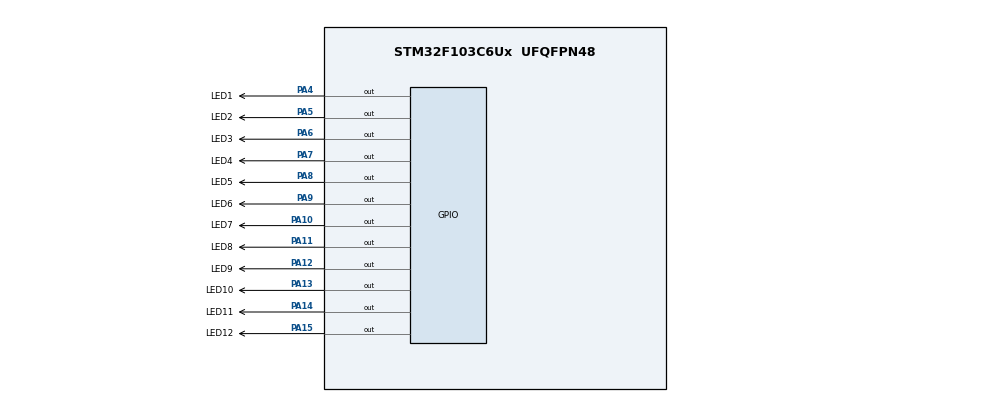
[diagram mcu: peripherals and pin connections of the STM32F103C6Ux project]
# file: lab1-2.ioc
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Mcu.Family=STM32F1
Mcu.Name=STM32F103C6Ux
Mcu.Package=UFQFPN48
NVIC.PriorityGroup=NVIC_PRIORITYGROUP_4
PA10.GPIO_Label=LED7
PA10.Signal=GPIO_Output
PA11.GPIO_Label=LED8
PA11.Signal=GPIO_Output
PA12.GPIO_Label=LED9
PA12.Signal=GPIO_Output
PA13.GPIO_Label=LED10
PA13.Signal=GPIO_Output
PA14.GPIO_Label=LED11
PA14.Signal=GPIO_Output
PA15.GPIO_Label=LED12
PA15.Signal=GPIO_Output
PA4.GPIO_Label=LED1
PA4.Signal=GPIO_Output
PA5.GPIO_Label=LED2
PA5.Signal=GPIO_Output
PA6.GPIO_Label=LED3
PA6.Signal=GPIO_Output
PA7.GPIO_Label=LED4
PA7.Signal=GPIO_Output
PA8.GPIO_Label=LED5
PA8.Signal=GPIO_Output
PA9.GPIO_Label=LED6
PA9.Signal=GPIO_Output
ProjectManager.HeapSize=0x200
ProjectManager.StackSize=0x400
ProjectManager.TargetToolchain=STM32CubeIDE
RCC.APB1Freq_Value=8000000
RCC.APB2Freq_Value=8000000
VP_SYS_VS_ND.Mode=No_Debug
board=custom

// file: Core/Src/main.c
/* USER CODE BEGIN Header */
/**
  ******************************************************************************
  * @file           : main.c
  * @brief          : Main program body
  ******************************************************************************
  * @attention
  *
  * <h2><center>&copy; Copyright (c) 2026 STMicroelectronics.
  * All rights reserved.</center></h2>
  *
  * This software component is licensed by ST under BSD 3-Clause license,
  * the "License"; You may not use this file except in compliance with the
  * License. You may obtain a copy of the License at:
  *                        opensource.org/licenses/BSD-3-Clause
  *
  ******************************************************************************
  */
/* USER CODE END Header */
#include "main.h"

/* USER CODE BEGIN PV */
uint16_t led_pins[12] = {LED1_Pin, LED2_Pin, LED3_Pin, LED4_Pin, LED5_Pin, LED6_Pin, LED7_Pin, LED8_Pin, LED9_Pin, LED10_Pin, LED11_Pin, LED12_Pin};
int hour = 0;
int minute = 0;
int second = 0;
/* USER CODE END PV */

void SystemClock_Config(void);
static void MX_GPIO_Init(void);
/* USER CODE BEGIN PFP */
void clearAllClock(void);
void setNumberOnClock(int num);
void clearNumberOnClock(int num);
/* USER CODE END PFP */

int main(void)
{

  /* MCU Configuration--------------------------------------------------------*/

  /* Reset of all peripherals, Initializes the Flash interface and the Systick. */
  HAL_Init();

  /* Configure the system clock */
  SystemClock_Config();

  /* Initialize all configured peripherals */
  MX_GPIO_Init();

  /* Infinite loop */
  while (1)
  {

    /* USER CODE BEGIN 3 */
	  //Ex6
	  /*for (int i = 0; i < 12; i++) {
	      HAL_GPIO_WritePin(GPIOA, led_pins[i], GPIO_PIN_RESET);
	      HAL_Delay(500);
	      HAL_GPIO_WritePin(GPIOA, led_pins[i], GPIO_PIN_SET);
	  }*/
	  //Ex6

	  //Ex10
	  clearAllClock();
	  setNumberOnClock(hour%12);
	  setNumberOnClock(minute/5);
	  setNumberOnClock(second/5);
	  second++;
	  if (second >= 60) {
	      second = 0;
	      minute++;
	  }
	  if (minute >= 60) {
	      minute = 0;
	      hour++;
	  }
	  if (hour >= 24) {
	      hour = 0;
	  }
	  HAL_Delay(100);
	  //Ex10
  }
  /* USER CODE END 3 */
}

void SystemClock_Config(void)
{
  RCC_OscInitTypeDef RCC_OscInitStruct = {0};
  RCC_ClkInitTypeDef RCC_ClkInitStruct = {0};

  /** Initializes the RCC Oscillators according to the specified parameters
  * in the RCC_OscInitTypeDef structure.
  */
  RCC_OscInitStruct.OscillatorType = RCC_OSCILLATORTYPE_HSI;
  RCC_OscInitStruct.HSIState = RCC_HSI_ON;
  RCC_OscInitStruct.HSICalibrationValue = RCC_HSICALIBRATION_DEFAULT;
  RCC_OscInitStruct.PLL.PLLState = RCC_PLL_NONE;
  if (HAL_RCC_OscConfig(&RCC_OscInitStruct) != HAL_OK)
  {
    Error_Handler();
  }
  /** Initializes the CPU, AHB and APB buses clocks
  */
  RCC_ClkInitStruct.ClockType = RCC_CLOCKTYPE_HCLK|RCC_CLOCKTYPE_SYSCLK
                              |RCC_CLOCKTYPE_PCLK1|RCC_CLOCKTYPE_PCLK2;
  RCC_ClkInitStruct.SYSCLKSource = RCC_SYSCLKSOURCE_HSI;
  RCC_ClkInitStruct.AHBCLKDivider = RCC_SYSCLK_DIV1;
  RCC_ClkInitStruct.APB1CLKDivider = RCC_HCLK_DIV1;
  RCC_ClkInitStruct.APB2CLKDivider = RCC_HCLK_DIV1;

  if (HAL_RCC_ClockConfig(&RCC_ClkInitStruct, FLASH_LATENCY_0) != HAL_OK)
  {
    Error_Handler();
  }
}

static void MX_GPIO_Init(void)
{
  GPIO_InitTypeDef GPIO_InitStruct = {0};

  /* GPIO Ports Clock Enable */
  __HAL_RCC_GPIOA_CLK_ENABLE();

  /*Configure GPIO pin Output Level */
  HAL_GPIO_WritePin(GPIOA, LED1_Pin|LED2_Pin|LED3_Pin|LED4_Pin
                          |LED5_Pin|LED6_Pin|LED7_Pin|LED8_Pin
                          |LED9_Pin|LED10_Pin|LED11_Pin|LED12_Pin, GPIO_PIN_SET);

  /*Configure GPIO pins : LED1_Pin LED2_Pin LED3_Pin LED4_Pin
                           LED5_Pin LED6_Pin LED7_Pin LED8_Pin
                           LED9_Pin LED10_Pin LED11_Pin LED12_Pin */
  GPIO_InitStruct.Pin = LED1_Pin|LED2_Pin|LED3_Pin|LED4_Pin
                          |LED5_Pin|LED6_Pin|LED7_Pin|LED8_Pin
                          |LED9_Pin|LED10_Pin|LED11_Pin|LED12_Pin;
  GPIO_InitStruct.Mode = GPIO_MODE_OUTPUT_PP;
  GPIO_InitStruct.Pull = GPIO_NOPULL;
  GPIO_InitStruct.Speed = GPIO_SPEED_FREQ_LOW;
  HAL_GPIO_Init(GPIOA, &GPIO_InitStruct);

}

/* USER CODE BEGIN 4 */
void clearAllClock(void) {
    for (int i = 0; i < 12; i++) {
        HAL_GPIO_WritePin(GPIOA, led_pins[i], GPIO_PIN_SET);
    }
}

void setNumberOnClock(int num) {
    if (num >= 0 && num <= 11) {
        HAL_GPIO_WritePin(GPIOA, led_pins[num], GPIO_PIN_RESET);
    }
}

void clearNumberOnClock(int num) {
    if (num >= 0 && num <= 11) {
        HAL_GPIO_WritePin(GPIOA, led_pins[num], GPIO_PIN_SET);
    }
}
/* USER CODE END 4 */

void Error_Handler(void)
{
  __disable_irq();
  while (1)
  {
  }
}

/************************ (C) COPYRIGHT STMicroelectronics *****END OF FILE****/
